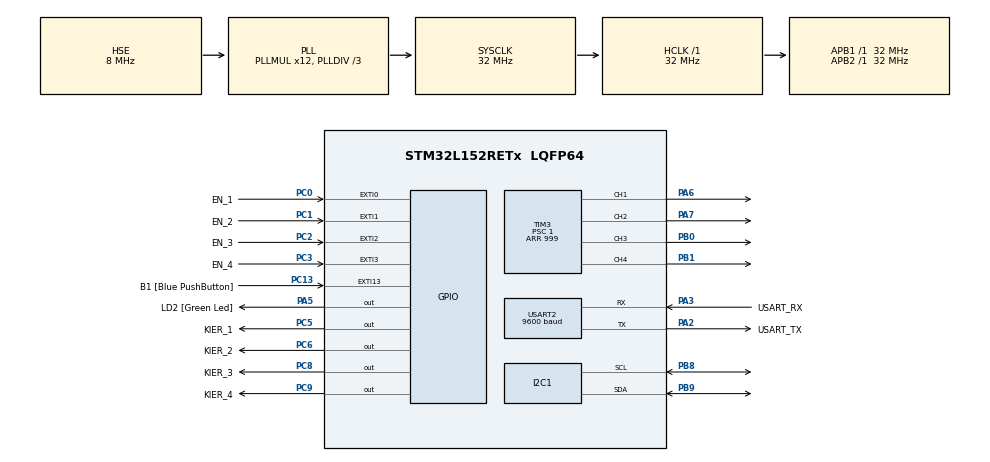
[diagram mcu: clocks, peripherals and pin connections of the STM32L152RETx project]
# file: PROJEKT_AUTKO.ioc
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Mcu.Family=STM32L1
Mcu.Name=STM32L152RETx
Mcu.Package=LQFP64
NVIC.EXTI0_IRQn=true\:0\:0\:false\:true\:true\:3\:true\:true\:true
NVIC.EXTI15_10_IRQn=true\:0\:0\:false\:true\:true\:2\:true\:true\:true
NVIC.EXTI1_IRQn=true\:0\:0\:false\:true\:true\:6\:true\:true\:true
NVIC.EXTI2_IRQn=true\:0\:0\:false\:true\:true\:5\:true\:true\:true
NVIC.EXTI3_IRQn=true\:0\:0\:false\:true\:true\:4\:true\:true\:true
NVIC.PriorityGroup=NVIC_PRIORITYGROUP_0
NVIC.TIM10_IRQn=true\:0\:1\:false\:true\:true\:7\:true\:true\:true
NVIC.TIM11_IRQn=true\:0\:1\:false\:true\:true\:1\:true\:true\:true
NVIC.USART2_IRQn=true\:0\:0\:false\:true\:true\:8\:true\:true\:true
PA13.GPIO_Label=TMS
PA13.Signal=SYS_JTMS-SWDIO
PA14.GPIO_Label=TCK
PA14.Signal=SYS_JTCK-SWCLK
PA2.GPIO_Label=USART_TX
PA2.Mode=Asynchronous
PA2.Signal=USART2_TX
PA3.GPIO_Label=USART_RX
PA3.Mode=Asynchronous
PA3.Signal=USART2_RX
PA5.GPIO_Label=LD2 [Green Led]
PA5.GPIO_ModeDefaultOutputPP=GPIO_MODE_OUTPUT_PP
PA5.GPIO_PuPd=GPIO_PULLDOWN
PA5.PinState=GPIO_PIN_RESET
PA5.Signal=GPIO_Output
PA6.Signal=S_TIM3_CH1
PA7.Signal=S_TIM3_CH2
PB0.Signal=S_TIM3_CH3
PB1.Signal=S_TIM3_CH4
PB3.GPIO_Label=SWO
PB3.Signal=SYS_JTDO-TRACESWO
PB8.Mode=I2C
PB8.Signal=I2C1_SCL
PB9.Mode=I2C
PB9.Signal=I2C1_SDA
PC0.GPIO_Label=EN_1
PC0.GPIO_PuPd=GPIO_PULLDOWN
PC0.Signal=GPXTI0
PC1.GPIO_Label=EN_2
PC1.GPIO_PuPd=GPIO_PULLDOWN
PC1.Signal=GPXTI1
PC13-WKUP2.GPIO_Label=B1 [Blue PushButton]
PC13-WKUP2.Signal=GPXTI13
PC14-OSC32_IN.Mode=LSE-External-Oscillator
PC14-OSC32_IN.Signal=RCC_OSC32_IN
PC15-OSC32_OUT.Mode=LSE-External-Oscillator
PC15-OSC32_OUT.Signal=RCC_OSC32_OUT
PC2.GPIO_Label=EN_3
PC2.GPIO_PuPd=GPIO_PULLDOWN
PC2.Signal=GPXTI2
PC3.GPIO_Label=EN_4
PC3.GPIO_PuPd=GPIO_PULLDOWN
PC3.Signal=GPXTI3
PC5.GPIO_Label=KIER_1
PC5.GPIO_ModeDefaultOutputPP=GPIO_MODE_OUTPUT_OD
PC5.GPIO_PuPd=GPIO_PULLUP
PC5.PinState=GPIO_PIN_RESET
PC5.Signal=GPIO_Output
PC6.GPIO_Label=KIER_2
PC6.GPIO_ModeDefaultOutputPP=GPIO_MODE_OUTPUT_OD
PC6.GPIO_PuPd=GPIO_PULLUP
PC6.Signal=GPIO_Output
PC8.GPIO_Label=KIER_3
PC8.GPIO_ModeDefaultOutputPP=GPIO_MODE_OUTPUT_OD
PC8.GPIO_PuPd=GPIO_PULLUP
PC8.GPIO_Speed=GPIO_SPEED_FREQ_LOW
PC8.PinState=GPIO_PIN_RESET
PC8.Signal=GPIO_Output
PC9.GPIO_Label=KIER_4
PC9.GPIO_ModeDefaultOutputPP=GPIO_MODE_OUTPUT_OD
PC9.GPIO_PuPd=GPIO_PULLUP
PC9.Signal=GPIO_Output
PH0-OSC_IN.Mode=HSE-External-Clock-Source
PH0-OSC_IN.Signal=RCC_OSC_IN
PH1-OSC_OUT.Signal=RCC_OSC_OUT
ProjectManager.HeapSize=0x800
ProjectManager.StackSize=0x1000
ProjectManager.TargetToolchain=STM32CubeIDE
RCC.48MHZClocksFreq_Value=48000000
RCC.AHBFreq_Value=32000000
RCC.APB1Freq_Value=32000000
RCC.APB1TimFreq_Value=32000000
RCC.APB2Freq_Value=32000000
RCC.APB2TimFreq_Value=32000000
RCC.HCLKFreq_Value=32000000
RCC.HSE_VALUE=8000000
RCC.HSI_VALUE=16000000
RCC.MSI_VALUE=2097000
RCC.PLLDIV=RCC_PLL_DIV3
RCC.PLLMUL=RCC_PLL_MUL12
RCC.PLLSourceVirtual=RCC_PLLSOURCE_HSE
RCC.RTCClockSelectionVirtual=RCC_RTCCLKSOURCE_LSE
RCC.SYSCLKFreq_VALUE=32000000
RCC.SYSCLKSource=RCC_SYSCLKSOURCE_PLLCLK
RCC.USBOutput=48000000
RCC.VCOOutputFreq_Value=96000000
SH.S_TIM3_CH1.0=TIM3_CH1,PWM Generation1 CH1
SH.S_TIM3_CH2.0=TIM3_CH2,PWM Generation2 CH2
SH.S_TIM3_CH3.0=TIM3_CH3,PWM Generation3 CH3
SH.S_TIM3_CH4.0=TIM3_CH4,PWM Generation4 CH4
TIM10.Period=24999
TIM10.Prescaler=639
TIM11.Period=9999
TIM11.Prescaler=639
TIM3.Channel-PWM\ Generation1\ CH1=TIM_CHANNEL_1
TIM3.Channel-PWM\ Generation2\ CH2=TIM_CHANNEL_2
TIM3.Channel-PWM\ Generation3\ CH3=TIM_CHANNEL_3
TIM3.Channel-PWM\ Generation4\ CH4=TIM_CHANNEL_4
TIM3.OCMode_PWM-PWM\ Generation1\ CH1=TIM_OCMODE_PWM2
TIM3.OCMode_PWM-PWM\ Generation2\ CH2=TIM_OCMODE_PWM2
TIM3.OCMode_PWM-PWM\ Generation3\ CH3=TIM_OCMODE_PWM2
TIM3.OCMode_PWM-PWM\ Generation4\ CH4=TIM_OCMODE_PWM2
TIM3.Period=999
TIM3.Prescaler=1
USART2.BaudRate=9600
USART2.VirtualMode=VM_ASYNC
VP_TIM10_VS_ClockSourceINT.Mode=Internal
VP_TIM11_VS_ClockSourceINT.Mode=Internal
VP_TIM3_VS_ClockSourceINT.Mode=Internal
board=NUCLEO-L152RE

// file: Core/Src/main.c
/* USER CODE BEGIN Header */
/**
  ******************************************************************************
  * @file           : main.c
  * @brief          : Main program body
  ******************************************************************************
  * @attention
  *
  * Copyright (c) 2024 STMicroelectronics.
  * All rights reserved.
  *
  * This software is licensed under terms that can be found in the LICENSE file
  * in the root directory of this software component.
  * If no LICENSE file comes with this software, it is provided AS-IS.
  *
  ******************************************************************************
  */
/* USER CODE END Header */
#include "main.h"
#include "i2c.h"
#include "tim.h"
#include "usart.h"
#include "gpio.h"

/* USER CODE BEGIN Includes */
#include "stdint.h"      //to bibliteka np do typoów danych

#include "bib.h"  //to moja bibliteka

#include "INA3221.h"

#include "stdio.h"  //to potrzebne do uart
#include "string.h"
#include "stdlib.h"
/* USER CODE END Includes */

/* USER CODE BEGIN PV */
uint8_t znak='z';
uint8_t znak_old;

char rx_buffer[100];
char parsed_velocity;
char parsed_direction;

WHEEL_Type Front_Right;  //tworzę 4 obiekty - 4 koła, jako obiekty globalne
WHEEL_Type Front_Left;
WHEEL_Type Back_Right;
WHEEL_Type Back_Left;

INA3221_Type Sensor_INA3221; //tworze obiekt mojego czujnika do pomiaru pradu i napiecia

int speed=0; // to zmienna która przechowuje żądaną predkość
float sp1=0;
float sp2=0;
float sp3=0;
float sp4=0;

int x1=0;
int x2=0;
int x3=0;
int x4=0;

INA3221_HandleTypeDef ina3221;
/* USER CODE END PV */

void SystemClock_Config(void);
static void MX_NVIC_Init(void);

int main(void)
{

  /* MCU Configuration--------------------------------------------------------*/

  /* Reset of all peripherals, Initializes the Flash interface and the Systick. */
  HAL_Init();

  /* Configure the system clock */
  SystemClock_Config();

  /* Initialize all configured peripherals */
  MX_GPIO_Init();
  MX_TIM11_Init();
  MX_USART2_UART_Init();
  MX_TIM3_Init();
  MX_I2C1_Init();
  MX_TIM10_Init();

  /* Initialize interrupts */
  MX_NVIC_Init();
  /* USER CODE BEGIN 2 */
  InitFunction(&Front_Left, &Front_Right, &Back_Left, &Back_Right);   //to wywołanie funkcji inicjalizujacej 4 koła-są w niej też starty timerów
  HAL_TIM_Base_Start_IT(&htim10);//start podstawy czasu w trybie przerwaniowym - co 0.5s
  HAL_TIM_Base_Start_IT(&htim11);//start podstawy czasu w trybie przerwaniowym - co 0.2s

  INA3221_Init(&ina3221, &hi2c1, 0x40);
  INA3221_SetShuntResistor(&ina3221, INA3221_CHANNEL_1, 0.01f); // 10 mΩ
  INA3221_SetShuntResistor(&ina3221, INA3221_CHANNEL_2, 0.01f); // 10 mΩ
  INA3221_SetShuntResistor(&ina3221, INA3221_CHANNEL_3, 0.01f); // 10 mΩ

  Sensor_INA3221.TotalEnergy=0;
  //HAL_UART_Receive_IT(&huart2, (uint8_t *)rx_buffer, sizeof(rx_buffer));
  HAL_UART_Receive_IT(&huart2, &znak,1);
  /* USER CODE END 2 */

  /* Infinite loop */
  /* USER CODE BEGIN WHILE */
  while (1)
  {
	  sp1=Front_Left.encoder_data.CurrentVelocity;
	  sp2=Front_Right.encoder_data.CurrentVelocity;
	  sp3=Back_Left.encoder_data.CurrentVelocity;
	  sp4=Back_Right.encoder_data.CurrentVelocity;
	  x1=Front_Left.pid_data.PidSignal;
	  x2=Front_Right.pid_data.PidSignal;
	  x3=Back_Left.pid_data.PidSignal;
	  x4=Back_Right.pid_data.PidSignal;

	  /*k1=Front_Left.motor_siganl;
	  k2=Front_Right.motor_siganl;
	  k3=Back_Left.motor_siganl;
	  k4=Back_Right.motor_siganl;*/

	  //Logika(&Front_Left, &Front_Right, &Back_Left, &Back_Right);

	  //wywołuję funkcję która ustawia predkosć i kierunek jazdy dla czterech kół
	  MotorState(&Front_Left);
	  MotorState(&Front_Right);
	  MotorState(&Back_Left);
	  MotorState(&Back_Right);

	  VelocityCalculation(&Front_Left, &Front_Right, &Back_Left, &Back_Right,speed);

    /* USER CODE END WHILE */

  }
}

void SystemClock_Config(void)
{
  RCC_OscInitTypeDef RCC_OscInitStruct = {0};
  RCC_ClkInitTypeDef RCC_ClkInitStruct = {0};

  /** Configure the main internal regulator output voltage
  */
  __HAL_PWR_VOLTAGESCALING_CONFIG(PWR_REGULATOR_VOLTAGE_SCALE1);

  /** Initializes the RCC Oscillators according to the specified parameters
  * in the RCC_OscInitTypeDef structure.
  */
  RCC_OscInitStruct.OscillatorType = RCC_OSCILLATORTYPE_HSE;
  RCC_OscInitStruct.HSEState = RCC_HSE_BYPASS;
  RCC_OscInitStruct.PLL.PLLState = RCC_PLL_ON;
  RCC_OscInitStruct.PLL.PLLSource = RCC_PLLSOURCE_HSE;
  RCC_OscInitStruct.PLL.PLLMUL = RCC_PLL_MUL12;
  RCC_OscInitStruct.PLL.PLLDIV = RCC_PLL_DIV3;
  if (HAL_RCC_OscConfig(&RCC_OscInitStruct) != HAL_OK)
  {
    Error_Handler();
  }

  /** Initializes the CPU, AHB and APB buses clocks
  */
  RCC_ClkInitStruct.ClockType = RCC_CLOCKTYPE_HCLK|RCC_CLOCKTYPE_SYSCLK
                              |RCC_CLOCKTYPE_PCLK1|RCC_CLOCKTYPE_PCLK2;
  RCC_ClkInitStruct.SYSCLKSource = RCC_SYSCLKSOURCE_PLLCLK;
  RCC_ClkInitStruct.AHBCLKDivider = RCC_SYSCLK_DIV1;
  RCC_ClkInitStruct.APB1CLKDivider = RCC_HCLK_DIV1;
  RCC_ClkInitStruct.APB2CLKDivider = RCC_HCLK_DIV1;

  if (HAL_RCC_ClockConfig(&RCC_ClkInitStruct, FLASH_LATENCY_1) != HAL_OK)
  {
    Error_Handler();
  }
}

/**
  * @brief NVIC Configuration.
  * @retval None
  */
static void MX_NVIC_Init(void)
{
  /* TIM11_IRQn interrupt configuration */
  HAL_NVIC_SetPriority(TIM11_IRQn, 0, 1);
  HAL_NVIC_EnableIRQ(TIM11_IRQn);
  /* EXTI15_10_IRQn interrupt configuration */
  HAL_NVIC_SetPriority(EXTI15_10_IRQn, 0, 0);
  HAL_NVIC_EnableIRQ(EXTI15_10_IRQn);
  /* EXTI0_IRQn interrupt configuration */
  HAL_NVIC_SetPriority(EXTI0_IRQn, 0, 0);
  HAL_NVIC_EnableIRQ(EXTI0_IRQn);
  /* EXTI3_IRQn interrupt configuration */
  HAL_NVIC_SetPriority(EXTI3_IRQn, 0, 0);
  HAL_NVIC_EnableIRQ(EXTI3_IRQn);
  /* EXTI2_IRQn interrupt configuration */
  HAL_NVIC_SetPriority(EXTI2_IRQn, 0, 0);
  HAL_NVIC_EnableIRQ(EXTI2_IRQn);
  /* EXTI1_IRQn interrupt configuration */
  HAL_NVIC_SetPriority(EXTI1_IRQn, 0, 0);
  HAL_NVIC_EnableIRQ(EXTI1_IRQn);
  /* TIM10_IRQn interrupt configuration */
  HAL_NVIC_SetPriority(TIM10_IRQn, 0, 1);
  HAL_NVIC_EnableIRQ(TIM10_IRQn);
  /* USART2_IRQn interrupt configuration */
  HAL_NVIC_SetPriority(USART2_IRQn, 0, 0);
  HAL_NVIC_EnableIRQ(USART2_IRQn);
}

/* USER CODE BEGIN 4 */
void HAL_GPIO_EXTI_Callback(uint16_t GPIO_Pin)
{
	if(GPIO_Pin==Front_Left.pinout_data.EncoderPin)//sprawdzam z którego pinu przyszło przerwanie i inkrementuję
	{                                              //odpowiednią zmiennę od odpowiedniego koła
		PositionIncrement(&Front_Left);
	}
	if(GPIO_Pin==Front_Right.pinout_data.EncoderPin)
	{
		PositionIncrement(&Front_Right);
	}
	if(GPIO_Pin==Back_Left.pinout_data.EncoderPin)
	{
		PositionIncrement(&Back_Left);
	}
	if(GPIO_Pin==Back_Right.pinout_data.EncoderPin)
	{
		PositionIncrement(&Back_Right);
	}
}
void HAL_TIM_PeriodElapsedCallback(TIM_HandleTypeDef *htim)//to callback od przerwania co określony czas
{
	if(htim->Instance==TIM11)//sprawdzam czy przerwanie pochodzi z timera który mnie interesuje - przerwanie co 0.2s
	{
		//HAL_GPIO_TogglePin(LD2_GPIO_Port, LD2_Pin); //to część kodu testujacego
		EncoderVelocity(&Front_Left);
		EncoderVelocity(&Front_Right);
		EncoderVelocity(&Back_Left);
		EncoderVelocity(&Back_Right);

		SpeedRamp(&Front_Left);
		SpeedRamp(&Front_Right);
		SpeedRamp(&Back_Left);
		SpeedRamp(&Back_Right);

		PID(&Front_Left);
		PID(&Front_Right);
		PID(&Back_Left);
		PID(&Back_Right);

	}

	if(htim->Instance==TIM10)//sprawdzam czy przerwanie pochodzi z timera który mnie interesuje - przerwanie co 0.5s
	{
		//HAL_GPIO_TogglePin(LD2_GPIO_Port, LD2_Pin); //to część kodu testujacego
		//odczytuję informację z czujnika i przypisuję do odpowiedniego miejsca w strukturze
		Sensor_INA3221.Channel1.Current=INA3221_GetCurrentRaw(&ina3221, INA3221_CHANNEL_1);
		Sensor_INA3221.Channel1.Voltage=INA3221_GetBusVoltage(&ina3221, INA3221_CHANNEL_1);
	    Sensor_INA3221.Channel2.Current=INA3221_GetCurrentRaw(&ina3221, INA3221_CHANNEL_2);
	    Sensor_INA3221.Channel2.Voltage=INA3221_GetBusVoltage(&ina3221, INA3221_CHANNEL_2);
		Sensor_INA3221.Channel3.Current=INA3221_GetCurrentRaw(&ina3221, INA3221_CHANNEL_3);
		Sensor_INA3221.Channel3.Voltage=INA3221_GetBusVoltage(&ina3221, INA3221_CHANNEL_3);

		Sensor_INA3221.Power=Sensor_INA3221.Channel3.Voltage*Sensor_INA3221.Channel3.Current;//obliczam teraz moc w watach
		Sensor_INA3221.TotalEnergy+=Sensor_INA3221.Power/7200;                        //teraz obliczam enegie zużytą w Wh
		//teraz wysyłanie informacj
		char Message[100];
		//to obroty kół na minutę
		float Velo=(abs(Front_Left.encoder_data.CurrentVelocity)+abs(Front_Right.encoder_data.CurrentVelocity)+
				abs(Back_Left.encoder_data.CurrentVelocity)+abs(Back_Right.encoder_data.CurrentVelocity))*15/54;
		int Lenght = sprintf((char*)Message,"V=%.2f,C1=%.2f,N1=%.2f,C2=%.2f,N2=%.2f,C3=%.2f,N3=%.2f,P=%.2f,E=%.2f\n\r",Velo
			,Sensor_INA3221.Channel1.Current,Sensor_INA3221.Channel1.Voltage,Sensor_INA3221.Channel2.Current,
			Sensor_INA3221.Channel2.Voltage,Sensor_INA3221.Channel3.Current,Sensor_INA3221.Channel3.Voltage,
			Sensor_INA3221.Power,Sensor_INA3221.TotalEnergy);
		HAL_UART_Transmit_IT(&huart2, Message, Lenght);
	}
}

void HAL_UART_RxCpltCallback(UART_HandleTypeDef *huart)
{
	if(huart->Instance == USART2)
		{
		  HAL_UART_Receive_IT(&huart2, &znak,1);
			  speed=ReadInfoFromUart(znak, &Front_Left, &Front_Right, &Back_Left, &Back_Right);
		}

}

/* USER CODE END 4 */

void Error_Handler(void)
{
  __disable_irq();
  while (1)
  {
  }
}
